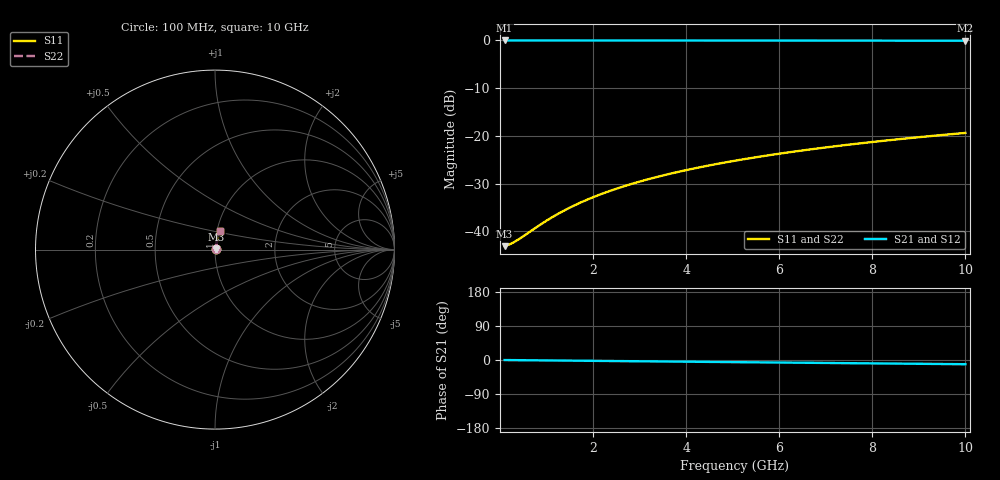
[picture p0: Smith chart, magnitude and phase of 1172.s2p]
# Hz S RI R 50.00
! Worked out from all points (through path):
!   100 points, 100 MHz to 10 GHz, reference 50 ohm
!   highest |S21| = -0.06 dB at 100 MHz (marker M1); lowest = -0.1 dB at 10 GHz (marker M2)
!   group delay of S21, straight-line fit = 3.09 ps
!   lowest |S11| = -43.1 dB at 100 MHz (marker M3), VSWR 1.01, Z = 50.7 + j0.108 ohm
!   |S11| at or under -10 dB: start of sweep to end of sweep
!   |S22| runs from -43.1 to -19.4 dB; largest |S21 - S12| = 0
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1e8  0.00691 0.00106  0.9931 -0.00193  0.9931 -0.00193  0.00691 0.00106
2e8  0.00696 0.00213  0.993 -0.00386  0.993 -0.00386  0.00696 0.00213
3e8  0.00701 0.00319  0.993 -0.00579  0.993 -0.00579  0.00701 0.00319
4e8  0.00705 0.00426  0.9929 -0.00772  0.9929 -0.00772  0.00705 0.00426
9e8  0.00728 0.00958  0.9927 -0.0174  0.9927 -0.0174  0.00728 0.00958
1.2e9  0.00745 0.0128  0.9925 -0.0232  0.9925 -0.0232  0.00745 0.0128
1.5e9  0.00765 0.016  0.9923 -0.029  0.9923 -0.029  0.00765 0.016
1.8e9  0.00788 0.0191  0.992 -0.0347  0.992 -0.0347  0.00788 0.0191
2.1e9  0.00815 0.0223  0.9917 -0.0405  0.9917 -0.0405  0.00815 0.0223
2.5e9  0.00856 0.0265  0.9912 -0.0482  0.9912 -0.0482  0.00856 0.0265
2.9e9  0.00904 0.0308  0.9906 -0.0559  0.9906 -0.0559  0.00904 0.0308
3.4e9  0.00972 0.036  0.9898 -0.0655  0.9898 -0.0655  0.00972 0.036
3.8e9  0.0103 0.0403  0.9891 -0.0732  0.9891 -0.0732  0.0103 0.0403
4.2e9  0.011 0.0444  0.9883 -0.0809  0.9883 -0.0809  0.011 0.0444
4.6e9  0.0118 0.0486  0.9874 -0.0885  0.9874 -0.0885  0.0118 0.0486
5.1e9  0.0128 0.0538  0.9862 -0.0981  0.9862 -0.0981  0.0128 0.0538
5.9e9  0.0146 0.0621  0.984 -0.1133  0.984 -0.1133  0.0146 0.0621
6.7e9  0.0167 0.0703  0.9815 -0.1285  0.9815 -0.1285  0.0167 0.0703
7.5e9  0.0191 0.0785  0.9787 -0.1436  0.9787 -0.1436  0.0191 0.0785
8.4e9  0.022 0.0875  0.9752 -0.1604  0.9752 -0.1604  0.022 0.0875
9.2e9  0.0249 0.0955  0.9718 -0.1754  0.9718 -0.1754  0.0249 0.0955
1e10  0.028 0.1033  0.9681 -0.1902  0.9681 -0.1902  0.028 0.1033
